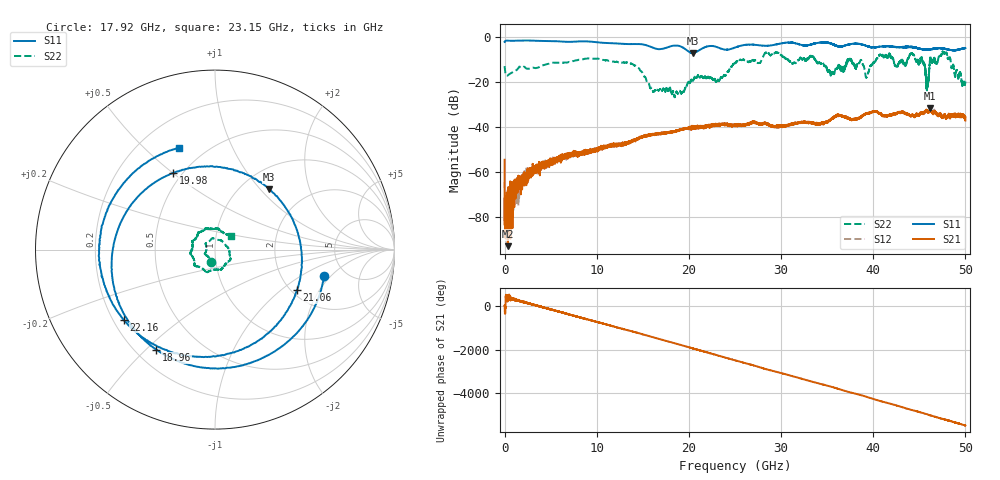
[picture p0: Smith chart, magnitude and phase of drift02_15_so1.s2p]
!Created with skrf (http://scikit-rf.org).
# Hz S RI R 50.0
!freq ReS11 ImS11 ReS21 ImS21 ReS12 ImS12 ReS22 ImS22
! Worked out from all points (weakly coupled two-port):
!   10001 points, 300 kHz to 50 GHz, reference 50 ohm
!   highest |S21| = -31.62 dB at 46.19 GHz (marker M1); lowest = -92.9 dB at 345.3 MHz (marker M2)
!   lowest |S11| = -6.9 dB at 20.48 GHz (marker M3), VSWR 2.64, Z = 65.8 + j55.6 ohm
!   |S11| at or under -10 dB: nowhere
!   |S22| runs from -26.6 to -6.3 dB; largest |S21 - S12| = 0.0028
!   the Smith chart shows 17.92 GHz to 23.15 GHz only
!   S11 on the Smith chart (normalised r, x): 17.92 GHz: 3.47, -1.68; 18.96 GHz: 0.28, -0.54; 19.98 GHz: 0.45, +0.50; 21.06 GHz: 2.14, -1.30; 22.16 GHz: 0.24, -0.32; 23.15 GHz: 0.36, +0.64
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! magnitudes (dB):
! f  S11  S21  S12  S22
! 300 kHz  -2.0  -54.4  -64.0  -12.7
! 345.3 MHz  -1.4  -92.9  -81.6  -16.9
! 2.895 GHz  -1.4  -61.3  -61.1  -13.6
! 8.335 GHz  -1.7  -51.2  -51.5  -9.7
! 13.71 GHz  -3.0  -46.6  -46.4  -11.6
! 16.67 GHz  -5.2  -43.0  -42.8  -23.5
! 17.92 GHz  -4.1  -42.1  -42.4  -22.5
! 18.96 GHz  -3.8  -41.3  -41.3  -23.7
! 19.98 GHz  -6.3  -40.4  -40.3  -19.8
! 20.48 GHz  -6.9  -40.0  -39.9  -19.0
! 21.06 GHz  -5.9  -39.4  -39.8  -16.9
! 22.16 GHz  -3.9  -39.5  -39.5  -17.8
! 23.15 GHz  -4.4  -38.8  -38.4  -18.8
! 25 GHz  -4.5  -39.0  -39.0  -11.4
! 33.34 GHz  -3.1  -37.9  -38.1  -8.4
! 39.32 GHz  -3.8  -33.7  -33.7  -17.2
! 41.67 GHz  -4.0  -34.9  -34.8  -7.8
! 44.25 GHz  -4.1  -34.6  -34.8  -7.2
! 45.85 GHz  -5.4  -32.6  -33.0  -19.4
! 46.19 GHz  -5.3  -31.6  -31.9  -9.2
! 47.75 GHz  -5.0  -34.2  -34.2  -6.8
! 50 GHz  -4.7  -37.0  -35.9  -19.9
